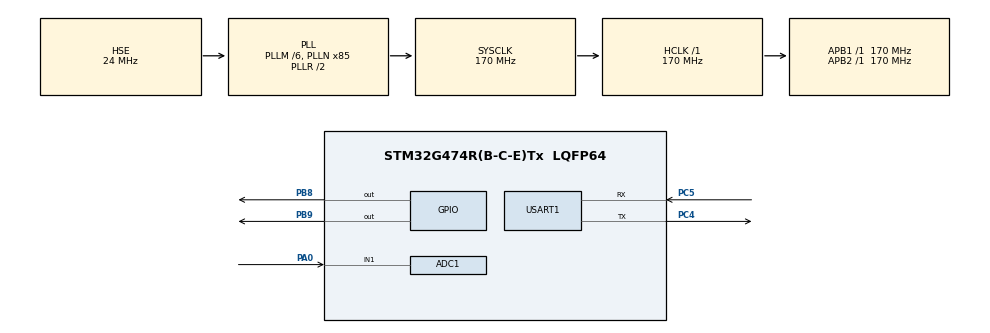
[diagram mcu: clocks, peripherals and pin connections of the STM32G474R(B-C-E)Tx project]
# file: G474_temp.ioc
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ADC1.Channel-0\#ChannelRegularConversion=ADC_CHANNEL_1
ADC1.ContinuousConvMode=DISABLE
ADC1.DMAContinuousRequests=DISABLE
ADC1.ExternalTrigConv=ADC_EXTERNALTRIG_T3_TRGO
ADC1.NbrOfConversionFlag=1
ADC1.OffsetNumber-0\#ChannelRegularConversion=ADC_OFFSET_NONE
ADC1.Rank-0\#ChannelRegularConversion=1
ADC1.SamplingTime-0\#ChannelRegularConversion=ADC_SAMPLETIME_2CYCLES_5
ADC1.master=1
Dma.ADC1.0.Direction=DMA_PERIPH_TO_MEMORY
Dma.ADC1.0.EventEnable=DISABLE
Dma.ADC1.0.Instance=DMA1_Channel1
Dma.ADC1.0.MemDataAlignment=DMA_MDATAALIGN_HALFWORD
Dma.ADC1.0.MemInc=DMA_MINC_ENABLE
Dma.ADC1.0.Mode=DMA_CIRCULAR
Dma.ADC1.0.PeriphDataAlignment=DMA_PDATAALIGN_HALFWORD
Dma.ADC1.0.PeriphInc=DMA_PINC_DISABLE
Dma.ADC1.0.Polarity=HAL_DMAMUX_REQ_GEN_RISING
Dma.ADC1.0.Priority=DMA_PRIORITY_LOW
Dma.ADC1.0.RequestNumber=1
Dma.ADC1.0.SignalID=NONE
Dma.ADC1.0.SyncEnable=DISABLE
Dma.ADC1.0.SyncPolarity=HAL_DMAMUX_SYNC_NO_EVENT
Dma.ADC1.0.SyncRequestNumber=1
Dma.ADC1.0.SyncSignalID=NONE
Dma.Request0=ADC1
Mcu.Family=STM32G4
Mcu.Name=STM32G474R(B-C-E)Tx
Mcu.Package=LQFP64
NVIC.DMA1_Channel1_IRQn=true\:0\:0\:false\:false\:true\:false\:true\:true
NVIC.PriorityGroup=NVIC_PRIORITYGROUP_4
NVIC.USART1_IRQn=true\:0\:0\:false\:false\:true\:true\:true\:true
PA0.Mode=IN1-Single-Ended
PA0.Signal=ADC1_IN1
PA13.Mode=Serial_Wire
PA13.Signal=SYS_JTMS-SWDIO
PA14.Mode=Serial_Wire
PA14.Signal=SYS_JTCK-SWCLK
PB8-BOOT0.GPIO_FM8=__NULL
PB8-BOOT0.GPIO_ModeDefaultOutputPP=GPIO_MODE_OUTPUT_OD
PB8-BOOT0.GPIO_PuPd=GPIO_PULLUP
PB8-BOOT0.GPIO_Speed=GPIO_SPEED_FREQ_VERY_HIGH
PB8-BOOT0.Signal=GPIO_Output
PB9.GPIO_ModeDefaultOutputPP=GPIO_MODE_OUTPUT_OD
PB9.GPIO_PuPd=GPIO_PULLUP
PB9.GPIO_Speed=GPIO_SPEED_FREQ_VERY_HIGH
PB9.Signal=GPIO_Output
PC14-OSC32_IN.Mode=LSE-External-Oscillator
PC14-OSC32_IN.Signal=RCC_OSC32_IN
PC15-OSC32_OUT.Mode=LSE-External-Oscillator
PC15-OSC32_OUT.Signal=RCC_OSC32_OUT
PC4.Mode=Asynchronous
PC4.Signal=USART1_TX
PC5.Mode=Asynchronous
PC5.Signal=USART1_RX
PF0-OSC_IN.Mode=HSE-External-Oscillator
PF0-OSC_IN.Signal=RCC_OSC_IN
PF1-OSC_OUT.Mode=HSE-External-Oscillator
PF1-OSC_OUT.Signal=RCC_OSC_OUT
ProjectManager.HeapSize=0x200
ProjectManager.StackSize=0x400
ProjectManager.TargetToolchain=MDK-ARM V5.32
RCC.ADC12Freq_Value=170000000
RCC.ADC345Freq_Value=170000000
RCC.AHBFreq_Value=170000000
RCC.APB1Freq_Value=170000000
RCC.APB1TimFreq_Value=170000000
RCC.APB2Freq_Value=170000000
RCC.APB2TimFreq_Value=170000000
RCC.CortexFreq_Value=170000000
RCC.EXTERNAL_CLOCK_VALUE=12288000
RCC.HCLKFreq_Value=170000000
RCC.HSE_VALUE=24000000
RCC.HSI48_VALUE=48000000
RCC.HSI_VALUE=16000000
RCC.PLLM=RCC_PLLM_DIV6
RCC.PLLN=85
RCC.PLLSourceVirtual=RCC_PLLSOURCE_HSE
RCC.RTCClockSelection=RCC_RTCCLKSOURCE_LSE
RCC.SYSCLKFreq_VALUE=170000000
RCC.SYSCLKSource=RCC_SYSCLKSOURCE_PLLCLK
RCC.USBFreq_Value=170000000
RCC.VCOOutputFreq_Value=340000000
STMicroelectronics.X-CUBE-ALGOBUILD.1.3.0.LibraryCcDSPOoLibraryJjDSPOoLibrary=true
TIM3.TIM_MasterOutputTrigger=TIM_TRGO_UPDATE
USART1.VirtualMode-Asynchronous=VM_ASYNC
VP_STMicroelectronics.X-CUBE-ALGOBUILD_VS_DSPOoLibraryJjLibrary_1.3.0_1.3.0.Mode=DSPOoLibraryJjLibrary
VP_SYS_VS_DBSignals.Mode=DisableDeadBatterySignals
VP_TIM3_VS_ClockSourceINT.Mode=Internal
board=NUCLEO-G474RE

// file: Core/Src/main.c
/* USER CODE BEGIN Header */
/**
  ******************************************************************************
  * @file           : main.c
  * @brief          : Main program body
  ******************************************************************************
  * @attention
  *
  * Copyright (c) 2023 STMicroelectronics.
  * All rights reserved.
  *
  * This software is licensed under terms that can be found in the LICENSE file
  * in the root directory of this software component.
  * If no LICENSE file comes with this software, it is provided AS-IS.
  *
  ******************************************************************************
  */
/* USER CODE END Header */
#include "main.h"
#include "adc.h"
#include "dma.h"
#include "tim.h"
#include "usart.h"
#include "gpio.h"

/* USER CODE BEGIN Includes */
#include "delay.h"
#include "myusart1.h"
#include "OLED_I2C.h"
#include "FFT.h"
/* USER CODE END Includes */

/* USER CODE BEGIN PTD */
uint8_t	start = 0;
uint8_t draw_mode = 0;
/* USER CODE END PTD */

void SystemClock_Config(void);

int main(void)
{

  /* MCU Configuration--------------------------------------------------------*/

  /* Reset of all peripherals, Initializes the Flash interface and the Systick. */
  HAL_Init();

  /* Configure the system clock */
  SystemClock_Config();

  /* Initialize all configured peripherals */
  MX_GPIO_Init();
  MX_DMA_Init();
  MX_USART1_UART_Init();
  MX_ADC1_Init();
  MX_TIM3_Init();
  /* USER CODE BEGIN 2 */
  delay_init(170);
  MyUSART1_Init(&huart1);
  OLED_Init();
  OLED_CLS();
  BackGround();

  HAL_TIM_Base_Start(&htim3);
  /* USER CODE END 2 */

  /* Infinite loop */
  while (1)
  {

    /* USER CODE BEGIN 3 */
	  if(start)
	  {
		ADC_Get();
		fft();
		start=0;
	  }
  }
  /* USER CODE END 3 */
}

void SystemClock_Config(void)
{
  RCC_OscInitTypeDef RCC_OscInitStruct = {0};
  RCC_ClkInitTypeDef RCC_ClkInitStruct = {0};

  /** Configure the main internal regulator output voltage
  */
  HAL_PWREx_ControlVoltageScaling(PWR_REGULATOR_VOLTAGE_SCALE1_BOOST);

  /** Initializes the RCC Oscillators according to the specified parameters
  * in the RCC_OscInitTypeDef structure.
  */
  RCC_OscInitStruct.OscillatorType = RCC_OSCILLATORTYPE_HSE;
  RCC_OscInitStruct.HSEState = RCC_HSE_ON;
  RCC_OscInitStruct.PLL.PLLState = RCC_PLL_ON;
  RCC_OscInitStruct.PLL.PLLSource = RCC_PLLSOURCE_HSE;
  RCC_OscInitStruct.PLL.PLLM = RCC_PLLM_DIV6;
  RCC_OscInitStruct.PLL.PLLN = 85;
  RCC_OscInitStruct.PLL.PLLP = RCC_PLLP_DIV2;
  RCC_OscInitStruct.PLL.PLLQ = RCC_PLLQ_DIV2;
  RCC_OscInitStruct.PLL.PLLR = RCC_PLLR_DIV2;
  if (HAL_RCC_OscConfig(&RCC_OscInitStruct) != HAL_OK)
  {
    Error_Handler();
  }

  /** Initializes the CPU, AHB and APB buses clocks
  */
  RCC_ClkInitStruct.ClockType = RCC_CLOCKTYPE_HCLK|RCC_CLOCKTYPE_SYSCLK
                              |RCC_CLOCKTYPE_PCLK1|RCC_CLOCKTYPE_PCLK2;
  RCC_ClkInitStruct.SYSCLKSource = RCC_SYSCLKSOURCE_PLLCLK;
  RCC_ClkInitStruct.AHBCLKDivider = RCC_SYSCLK_DIV1;
  RCC_ClkInitStruct.APB1CLKDivider = RCC_HCLK_DIV1;
  RCC_ClkInitStruct.APB2CLKDivider = RCC_HCLK_DIV1;

  if (HAL_RCC_ClockConfig(&RCC_ClkInitStruct, FLASH_LATENCY_4) != HAL_OK)
  {
    Error_Handler();
  }
}

void Error_Handler(void)
{
  __disable_irq();
  while (1)
  {
  }
}
